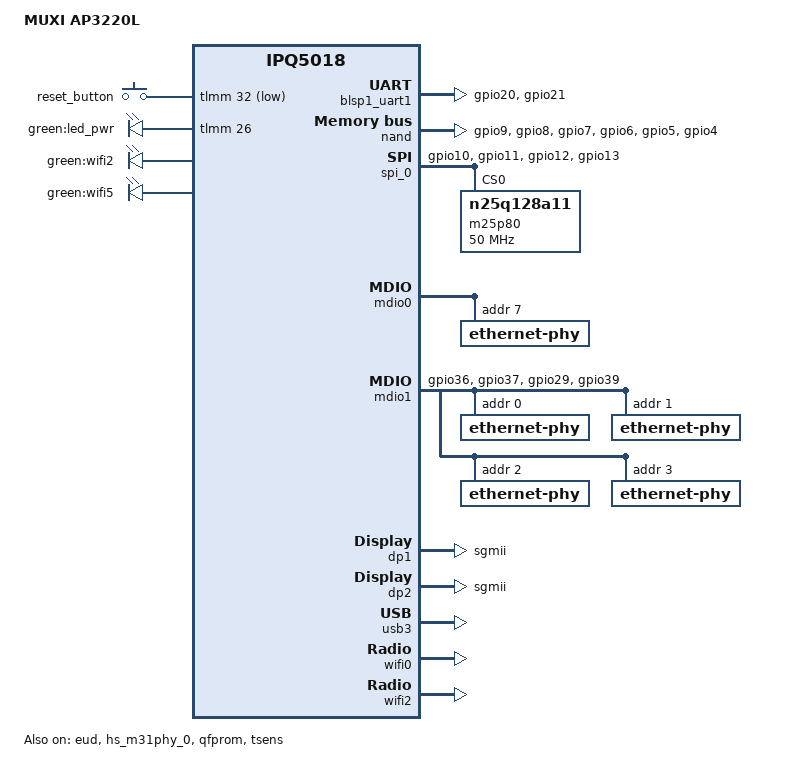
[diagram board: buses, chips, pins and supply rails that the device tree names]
/dts-v1/;
/* Copyright (c) 2018-2020, The Linux Foundation. All rights reserved.
 *
 * Permission to use, copy, modify, and/or distribute this software for any
 * purpose with or without fee is hereby granted, provided that the above
 * copyright notice and this permission notice appear in all copies.
 *
 * THE SOFTWARE IS PROVIDED "AS IS" AND THE AUTHOR DISCLAIMS ALL WARRANTIES
 * WITH REGARD TO THIS SOFTWARE INCLUDING ALL IMPLIED WARRANTIES OF
 * MERCHANTABILITY AND FITNESS. IN NO EVENT SHALL THE AUTHOR BE LIABLE FOR
 * ANY SPECIAL, DIRECT, INDIRECT, OR CONSEQUENTIAL DAMAGES OR ANY DAMAGES
 * WHATSOEVER RESULTING FROM LOSS OF USE, DATA OR PROFITS, WHETHER IN AN
 * ACTION OF CONTRACT, NEGLIGENCE OR OTHER TORTIOUS ACTION, ARISING OUT OF
 * OR IN CONNECTION WITH THE USE OR PERFORMANCE OF THIS SOFTWARE.
 */

#include "qcom-ipq5018.dtsi"

/ {
	#address-cells = <0x2>;
	#size-cells = <0x2>;
	model = "MUXI AP3220L";
	compatible = "muxi,ap3220l", "qcom,ipq5018-mp03.5-c1", "qcom,ipq5018";
	interrupt-parent = <&intc>;

	aliases {
		serial0 = &blsp1_uart1;
		serial1 = &blsp1_uart2;
		ethernet0 = "/soc/dp1";
		ethernet1 = "/soc/dp2";

		led-boot = &led_power;
		led-failsafe = &led_power;
		led-running = &led_power;
		led-upgrade = &led_power;
	};

	chosen {
		bootargs = "console=ttyMSM0,115200,n8 rw init=/init";
	#ifdef __IPQ_MEM_PROFILE_256_MB__
		bootargs-append = " swiotlb=1";
	#else
		bootargs-append = " swiotlb=1 coherent_pool=2M";
	#endif
		stdout-path = "serial0";
	};

	reserved-memory {
	#ifdef __IPQ_MEM_PROFILE_256_MB__
	/*                   256 MB Profile
	 * +==========+==============+=========================+
	 * |          |              |                         |
	 * |  Region  | Start Offset |          Size           |
	 * |          |              |                         |
	 * +----------+--------------+-------------------------+
	 * |    NSS   |  0x40000000  |           8MB           |
	 * +----------+--------------+-------------------------+
	 * |   Linux  |  0x40800000  | Depends on total memory |
	 * +----------+--------------+-------------------------+
	 * |   uboot  |  0x4A600000  |           4MB           |
	 * +----------+--------------+-------------------------+
	 * |    SBL   |  0x4AA00000  |           1MB           |
	 * +----------+--------------+-------------------------+
	 * |   smem   |  0x4AB00000  |           1MB           |
	 * +----------+--------------+-------------------------+
	 * |    TZ    |  0x4AC00000  |           4MB           |
	 * +----------+--------------+-------------------------+
	 * |    Q6    |              |                         |
	 * |   code/  |  0x4B000000  |          20MB           |
	 * |   data   |              |                         |
	 * +----------+--------------+-------------------------+
	 * |  IPQ5018 |              |                         |
	 * |   data   |  0x4C400000  |          13MB           |
	 * +----------+--------------+-------------------------+
	 * |  IPQ5018 |              |                         |
	 * |  M3 Dump |  0x4D100000  |           1MB           |
	 * +----------+--------------+-------------------------+
	 * |  IPQ5018 |              |                         |
	 * |   QDSS   |  0x4D200000  |           1MB           |
	 * +----------+--------------+-------------------------+
	 * | QCN6122_1|              |                         |
	 * |   data   |  0x4D300000  |          15MB           |
	 * +----------+--------------+-------------------------+
	 * | QCN6122_1|              |                         |
	 * |  M3 Dump |  0x4E200000  |           1MB           |
	 * +----------+--------------+-------------------------+
	 * | QCN6122_1|              |                         |
	 * |   QDSS   |  0x4E300000  |           1MB           |
	 * +----------+--------------+-------------------------+
	 * | QCN6122_2|              |                         |
	 * |   data   |  0x4E400000  |          15MB           |
	 * +----------+--------------+-------------------------+
	 * | QCN6122_2|              |                         |
	 * |  M3 Dump |  0x4F300000  |           1MB           |
	 * +----------+--------------+-------------------------+
	 * | QCN6122_2|              |                         |
	 * |   QDSS   |  0x4F400000  |           1MB           |
	 * +----------+--------------+-------------------------+
	 * |                                                   |
	 * |            Rest of the memory for Linux           |
	 * |                                                   |
	 * +===================================================+
	 */
		q6_mem_regions: q6_mem_regions@4B000000 {
			no-map;
			reg = <0x0 0x4B000000 0x0 0x4500000>;
		};

		q6_code_data: q6_code_data@4B000000 {
			no-map;
			reg = <0x0 0x4B000000 0x0 0x1400000>;
		};

		q6_ipq5018_data: q6_ipq5018_data@4C400000 {
			no-map;
			reg = <0x0 0x4C400000 0x0 0xD00000>;
		};

		m3_dump: m3_dump@4D100000 {
			no-map;
			reg = <0x0 0x4D100000 0x0 0x100000>;
		};

		q6_etr_region: q6_etr_dump@4D200000 {
			no-map;
			reg = <0x0 0x4D200000 0x0 0x100000>;
		};

		q6_qcn6122_data1: q6_qcn6122_data1@4D300000 {
			no-map;
			reg = <0x0 0x4D300000 0x0 0xF00000>;
		};

		m3_dump_qcn6122_1: m3_dump_qcn6122_1@4E200000 {
			no-map;
			reg = <0x0 0x4E200000 0x0 0x100000>;
		};

		q6_qcn6122_etr_1: q6_qcn6122_etr_1@4E300000 {
			no-map;
			reg = <0x0 0x4E300000 0x0 0x100000>;
		};

		q6_qcn6122_data2: q6_qcn6122_data2@4E400000 {
			no-map;
			reg = <0x0 0x4E400000 0x0 0xF00000>;
		};

		m3_dump_qcn6122_2: m3_dump_qcn6122_2@4F300000 {
			no-map;
			reg = <0x0 0x4F300000 0x0 0x100000>;
		};

		q6_qcn6122_etr_2: q6_qcn6122_etr_2@4F400000 {
			no-map;
			reg = <0x0 0x4F400000 0x0 0x100000>;
		};
	#else
	/*                 512MB/1GB Profiles
	 * +==========+==============+=========================+
	 * |          |              |                         |
	 * |  Region  | Start Offset |          Size           |
	 * |          |              |                         |
	 * +----------+--------------+-------------------------+
	 * |    NSS   |  0x40000000  |          16MB           |
	 * +----------+--------------+-------------------------+
	 * |   Linux  |  0x41000000  | Depends on total memory |
	 * +----------+--------------+-------------------------+
	 * |   uboot  |  0x4A600000  |           4MB           |
	 * +----------+--------------+-------------------------+
	 * |    SBL   |  0x4AA00000  |           1MB           |
	 * +----------+--------------+-------------------------+
	 * |   smem   |  0x4AB00000  |           1MB           |
	 * +----------+--------------+-------------------------+
	 * |    TZ    |  0x4AC00000  |           4MB           |
	 * +----------+--------------+-------------------------+
	 * |    Q6    |              |                         |
	 * |   code/  |  0x4B000000  |          20MB           |
	 * |   data   |              |                         |
	 * +----------+--------------+-------------------------+
	 * |  IPQ5018 |              |                         |
	 * |   data   |  0x4C400000  |          14MB           |
	 * +----------+--------------+-------------------------+
	 * |  IPQ5018 |              |                         |
	 * |  M3 Dump |  0x4D200000  |           1MB           |
	 * +----------+--------------+-------------------------+
	 * |  IPQ5018 |              |                         |
	 * |   QDSS   |  0x4D300000  |           1MB           |
	 * +----------+--------------+-------------------------+
	 * |  IPQ5018 |              |                         |
	 * |  Caldb   |  0x4D400000  |           2MB           |
	 * +----------+--------------+-------------------------+
	 * | QCN6122_1|              |                         |
	 * |   data   |  0x4D600000  |          16MB           |
	 * +----------+--------------+-------------------------+
	 * | QCN6122_1|              |                         |
	 * |  M3 Dump |  0x4E600000  |           1MB           |
	 * +----------+--------------+-------------------------+
	 * | QCN6122_1|              |                         |
	 * |   QDSS   |  0x4E700000  |           1MB           |
	 * +----------+--------------+-------------------------+
	 * | QCN6122_1|              |                         |
	 * |  Caldb   |  0x4E800000  |           5MB           |
	 * +----------+--------------+-------------------------+
	 * | QCN6122_2|              |                         |
	 * |   data   |  0x4ED00000  |          16MB           |
	 * +----------+--------------+-------------------------+
	 * | QCN6122_2|              |                         |
	 * |  M3 Dump |  0x4FD00000  |           1MB           |
	 * +----------+--------------+-------------------------+
	 * | QCN6122_2|              |                         |
	 * |   QDSS   |  0x4FE00000  |           1MB           |
	 * +----------+--------------+-------------------------+
	 * | QCN6122_2|              |                         |
	 * |  Caldb   |  0x4FF00000  |           5MB           |
	 * +----------+--------------+-------------------------+
	 * |                                                   |
	 * |            Rest of the memory for Linux           |
	 * |                                                   |
	 * +===================================================+
	 */
		q6_mem_regions: q6_mem_regions@4B000000 {
			no-map;
			reg = <0x0 0x4B000000 0x0 0x5400000>;
		};

		q6_code_data: q6_code_data@4B000000 {
			no-map;
			reg = <0x0 0x4B000000 0x0 01400000>;
		};

		q6_ipq5018_data: q6_ipq5018_data@4C400000 {
			no-map;
			reg = <0x0 0x4C400000 0x0 0xE00000>;
		};

		m3_dump: m3_dump@4D200000 {
			no-map;
			reg = <0x0 0x4D200000 0x0 0x100000>;
		};

		q6_etr_region: q6_etr_dump@4D300000 {
			no-map;
			reg = <0x0 0x4D300000 0x0 0x100000>;
		};

		q6_caldb_region: q6_caldb_region@4D400000 {
			no-map;
			reg = <0x0 0x4D400000 0x0 0x200000>;
		};

		q6_qcn6122_data1: q6_qcn6122_data1@4D600000 {
			no-map;
			reg = <0x0 0x4D600000 0x0 0x1000000>;
		};

		m3_dump_qcn6122_1: m3_dump_qcn6122_1@4E600000 {
			no-map;
			reg = <0x0 0x4E600000 0x0 0x100000>;
		};

		q6_qcn6122_etr_1: q6_qcn6122_etr_1@4E700000 {
			no-map;
			reg = <0x0 0x4E700000 0x0 0x100000>;
		};

		q6_qcn6122_caldb_1: q6_qcn6122_caldb_1@4E800000 {
			no-map;
			reg = <0x0 0x4E800000 0x0 0x500000>;
		};

		q6_qcn6122_data2: q6_qcn6122_data2@4E900000 {
			no-map;
			reg = <0x0 0x4ED00000 0x0 0x1000000>;
		};

		m3_dump_qcn6122_2: m3_dump_qcn6122_2@4FD00000 {
			no-map;
			reg = <0x0 0x4FD00000 0x0 0x100000>;
		};

		q6_qcn6122_etr_2: q6_qcn6122_etr_2@4FE00000 {
			no-map;
			reg = <0x0 0x4FE00000 0x0 0x100000>;
		};

		q6_qcn6122_caldb_2: q6_qcn6122_caldb_2@4FF00000 {
			no-map;
			reg = <0x0 0x4FF00000 0x0 0x500000>;
		};

	#endif
	};

	soc {

		blsp1_uart1: serial@78af000 {
			pinctrl-0 = <&blsp0_uart_pins>;
			pinctrl-names = "default";
			status = "okay";
		};

		blsp1_uart2: serial@78b0000 {
			pinctrl-0 = <&blsp1_uart_pins>;
			pinctrl-names = "default";
			status = "disabled";
		};

		qpic_bam: dma@7984000{
			status = "ok";
		};

		nand: qpic-nand@79b0000 {
			pinctrl-0 = <&qspi_nand_pins>;
			pinctrl-names = "default";
			status = "ok";
		};

		spi_0: spi@78b5000 { /* BLSP1 QUP0 */
			pinctrl-0 = <&blsp0_spi_pins>;
			pinctrl-names = "default";
			cs-select = <0>;
			status = "ok";

			m25p80@0 {
				#address-cells = <1>;
				#size-cells = <1>;
				reg = <0>;
				compatible = "n25q128a11";
				linux,modalias = "m25p80", "n25q128a11";
				spi-max-frequency = <50000000>;
				use-default-sizes;
			};
		};

		mdio0: mdio@88000 {
			status = "ok";

			ethernet-phy@0 {
				reg = <7>;
			};
		};

		mdio1: mdio@90000 {
			status = "ok";
			pinctrl-0 = <&mdio1_pins &phy_pins>;
			pinctrl-names = "default";
			phy-reset-gpio = <&tlmm 39 0>;

			ethernet-phy@0 {
				reg = <0>;
			};

			ethernet-phy@1 {
				reg = <1>;
			};

			ethernet-phy@2 {
				reg = <2>;
			};

			ethernet-phy@3 {
				reg = <3>;
			};
		};

		ess-instance {
			num_devices = <0x2>;
			ess-switch@0x39c00000 {
				compatible = "qcom,ess-switch-ipq50xx";
				device_id = <0>;
				switch_mac_mode = <0xf>; /* mac mode for uniphy instance*/
				cmnblk_clk = "internal_96MHz"; /* cmnblk clk*/
				qcom,port_phyinfo {
					port@0 {
						port_id = <1>;
						phy_address = <7>;
					};
					port@1 {
						port_id = <2>;
						forced-speed = <1000>;
						forced-duplex = <1>;
					};
				};
				/*
				led_source@0 {
					source = <0>;
					mode = "normal";
					speed = "all";
					blink_en = "enable";
					active = "high";
				};
				*/
			};
			ess-switch1@1 {
				compatible = "qcom,ess-switch-qca83xx";
				device_id = <1>;
				switch_access_mode = "mdio";
				mdio-bus = <&mdio1>;
				reset_gpio = <0x27>;
				switch_cpu_bmp = <0x40>;  /* cpu port bitmap */
				switch_lan_bmp = <0x1e>; /* lan port bitmap */
				switch_wan_bmp = <0x0>;  /* wan port bitmap */
				qca,ar8327-initvals = <
						0x00004 0x7600000   /* PAD0_MODE */
						0x00008 0x1000000   /* PAD5_MODE */
						0x0000c 0x80        /* PAD6_MODE */
						0x00010 0x2613a0    /* PORT6 FORCE MODE*/
						0x000e4 0xaa545     /* MAC_POWER_SEL */
						0x000e0 0xc74164de  /* SGMII_CTRL */
						0x0007c 0x4e        /* PORT0_STATUS */
						0x00094 0x4e        /* PORT6_STATUS */
				>;
				qcom,port_phyinfo {
					port@0 {
						port_id = <1>;
						phy_address = <0>;
					};
					port@1 {
						port_id = <2>;
						phy_address = <1>;
					};
					port@2 {
						port_id = <3>;
						phy_address = <2>;
					};
					port@3 {
						port_id = <4>;
						phy_address = <3>;
					};
				};
			};
		};

		ess-uniphy@98000 {
			status = "disabled";
		};

		dp1 {
			device_type = "network";
			compatible = "qcom,nss-dp";
			clocks = <&gcc GCC_SNOC_GMAC0_AXI_CLK>;
			clock-names = "nss-snoc-gmac-axi-clk";
			qcom,id = <1>;
			reg = <0x39C00000 0x10000>;
			interrupts = <GIC_SPI 101 IRQ_TYPE_LEVEL_HIGH>;
			qcom,mactype = <2>;
			qcom,link-poll = <1>;
			qcom,phy-mdio-addr = <7>;
			mdio-bus = <&mdio0>;
			local-mac-address = [000000000000];
			phy-mode = "sgmii";
		};

		dp2 {
			device_type = "network";
			compatible = "qcom,nss-dp";
			clocks = <&gcc GCC_SNOC_GMAC1_AXI_CLK>;
			clock-names = "nss-snoc-gmac-axi-clk";
			qcom,id = <2>;
			reg = <0x39D00000 0x10000>;
			interrupts = <GIC_SPI 109 IRQ_TYPE_LEVEL_HIGH>;
			qcom,mactype = <2>;
			qcom,link-poll = <1>;
			qcom,phy-mdio-addr = <3>;
			mdio-bus = <&mdio1>;
			local-mac-address = [000000000000];
			phy-mode = "sgmii";
		};

		qcom,test@0 {
			status = "ok";
		};

	};

	thermal-zones {
		status = "ok";
	};
};

&tlmm {
	//pinctrl-0 = <&phy_led_pins>;
	pinctrl-names = "default";

	blsp0_uart_pins: uart_pins {
		blsp0_uart_rx_tx {
			pins = "gpio20", "gpio21";
			function = "blsp0_uart0";
			bias-disable;
		};
	};

	blsp1_uart_pins: blsp1_uart_pins {
		blsp1_uart_rx_tx {
			pins = "gpio23", "gpio25";
			function = "blsp1_uart2";
			bias-disable;
		};
	};

	blsp0_spi_pins: blsp0_spi_pins {
		mux {
			pins = "gpio10", "gpio11", "gpio12", "gpio13";
			function = "blsp0_spi";
			drive-strength = <2>;
			bias-disable;
		};
	};

	qspi_nand_pins: qspi_nand_pins {
		qspi_clock {
				pins = "gpio9";
				function = "qspi_clk";
				drive-strength = <8>;
				bias-disable;
			};
		qspi_cs {
				pins = "gpio8";
				function = "qspi_cs";
				drive-strength = <8>;
				bias-disable;
			};
		qspi_data_0 {
				pins = "gpio7";
				function = "qspi0";
				drive-strength = <8>;
				bias-disable;
			};
		qspi_data_1 {
				pins = "gpio6";
				function = "qspi1";
				drive-strength = <8>;
				bias-disable;
			};
		qspi_data_2 {
				pins = "gpio5";
				function = "qspi2";
				drive-strength = <8>;
				bias-disable;
			};
		qspi_data_3 {
				pins = "gpio4";
				function = "qspi3";
				drive-strength = <8>;
				bias-disable;
			};
	};

	phy_pins: phy_pins {
		phy_intr {
			pins = "gpio29";
			function = "gpio";
			drive-strength = <8>;
			bias-pull-up;
			bias-disable;
		};
		phy_reset {
			pins = "gpio39";
			function = "gpio";
			drive-strength = <8>;
			bias-pull-down;
			output-low;
		};
	};

	mdio1_pins: mdio_pinmux {
		mux_0 {
			pins = "gpio36";
			function = "mdc";
			drive-strength = <8>;
			bias-pull-up;
		};

		mux_1 {
			pins = "gpio37";
			function = "mdio";
			drive-strength = <8>;
			bias-pull-up;
		};
	};

	phy_led_pins: phy_led_pins {
		gephy_led_pin {
			//pins = "gpio46";
			function = "led0";
			drive-strength = <8>;
			bias-pull-down;
		};
	};

	button_pins: button_pins {
		reset_button {
			pins = "gpio32";
			function = "gpio";
			drive-strength = <8>;
			bias-pull-up;
		};
	};

	led_pins: led_pins {
		led_pwr {
			pins = "gpio26";
			function = "gpio";
			drive-strength = <8>;
			bias-pull-down;
		};

		led_2g {
			pins = "gpio31";
			function = "gpio";
			drive-strength = <8>;
			bias-pull-down;
		};

		led_5g {
			pins = "gpio33";
			function = "gpio";
			drive-strength = <8>;
			bias-pull-down;
		};
	};

};

&soc {
	gpio_keys {
		compatible = "gpio-keys";
		pinctrl-0 = <&button_pins>;
		pinctrl-names = "default";

		button@1 {
			label = "reset_button";
			linux,code = <KEY_RESTART>;
			gpios = <&tlmm 32 GPIO_ACTIVE_LOW>;
			linux,input-type = <1>;
			debounce-interval = <60>;
		};
	};

	leds {
		compatible = "gpio-leds";
		pinctrl-0 = <&led_pins>;
		pinctrl-names = "default";

			led_power: led_pwr {
				label = "green:led_pwr";
				gpios = <&tlmm 26 GPIO_ACTIVE_HIGH>;
				default-state = "on";
				linux,default-trigger = "led_pwr";
			};

			led_2g {
				label = "green:wifi2";
				gpio = <&tlmm 33 GPIO_ACTIVE_HIGH>;
				default-state = "off";
			};

			led_5g {
				label = "green:wifi5";
				gpio = <&tlmm 31 GPIO_ACTIVE_HIGH>;
				default-state = "off";
			};
	};
};

&usb3 {
	status = "ok";
	device-power-gpio = <&tlmm 30 1>;
};

&eud {
	status = "ok";
};

&pcie_x1 {
	status = "disabled";
	perst-gpio = <&tlmm 18 1>;
};

&pcie_x2 {
	status = "disabled";
	perst-gpio = <&tlmm 15 1>;
};

&dwc_0 {
	/delete-property/ #phy-cells;
	/delete-property/ phys;
	/delete-property/ phy-names;
};

&hs_m31phy_0 {
	status = "ok";
};

&pcie_x1phy {
	status = "disabled";
};

&pcie_x2phy {
	status = "disabled";
};

&pcie_x1_rp {
        status = "disabled";

	mhi_0: qcom,mhi@0 {
		reg = <0 0 0 0 0 >;
	};
};

&pcie_x2_rp {
        status = "disabled";

	mhi_1: qcom,mhi@1 {
		reg = <0 0 0 0 0 >;

	};
};

&qfprom {
	status = "ok";
};

&tsens {
	status = "ok";
};

&qcom_q6v5_wcss {
	qcom,multipd_arch;
	memory-region = <&q6_mem_regions>;
	qcom,share_bootargs;
	qcom,bootargs_smem = <507>;
	boot-args = <0x2 0x4 0x2 0xF 0x0 0x0>;

	/* IPQ5018 */
	q6v5_wcss_userpd1 {
		m3_firmware = "IPQ5018/m3_fw.mdt";
		interrupts-extended = <&wcss_smp2p_in 8 0>,
			<&wcss_smp2p_in 9 0>,
			<&wcss_smp2p_in 12 0>,
			<&wcss_smp2p_in 11 0>;
		interrupt-names ="fatal",
			"ready",
			"spawn_ack",
			"stop-ack";
		qcom,smem-states = <&wcss_smp2p_out 8>,
			<&wcss_smp2p_out 9>,
			<&wcss_smp2p_out 10>;
		qcom,smem-state-names = "shutdown",
			"stop",
			"spawn";
		qca,asid = <1>;
		qca,auto-restart;
		qca,int_radio;
		#ifdef __IPQ_MEM_PROFILE_256_MB__
		memory-region = <&q6_ipq5018_data>, <&m3_dump>,
				<&q6_etr_region>;
		#else
		memory-region = <&q6_ipq5018_data>, <&m3_dump>,
				<&q6_etr_region>, <&q6_caldb_region>;
		#endif
	};

	/* QCN6122 6G */
	q6v5_wcss_userpd2 {
		m3_firmware = "qcn6122/m3_fw.mdt";
		interrupts-extended = <&wcss_smp2p_in 16 0>,
			<&wcss_smp2p_in 17 0>,
			<&wcss_smp2p_in 20 0>,
			<&wcss_smp2p_in 19 0>;
		interrupt-names ="fatal",
			"ready",
			"spawn_ack",
			"stop-ack";
		qcom,smem-states = <&wcss_smp2p_out 16>,
			<&wcss_smp2p_out 17>,
			<&wcss_smp2p_out 18>;
		qcom,smem-state-names = "shutdown",
			"stop",
			"spawn";
		qca,asid = <2>;
		qca,auto-restart;
		#ifdef __IPQ_MEM_PROFILE_256_MB__
		memory-region = <&q6_qcn6122_data1>, <&m3_dump_qcn6122_1>,
				<&q6_qcn6122_etr_1>;
		#else
		memory-region = <&q6_qcn6122_data1>, <&m3_dump_qcn6122_1>,
				<&q6_qcn6122_etr_1>, <&q6_qcn6122_caldb_1>;
		#endif
	};

	/* QCN6122 5G */
	q6v5_wcss_userpd3 {
		m3_firmware = "qcn6122/m3_fw.mdt";
		interrupts-extended = <&wcss_smp2p_in 24 0>,
			<&wcss_smp2p_in 25 0>,
			<&wcss_smp2p_in 28 0>,
			<&wcss_smp2p_in 27 0>;
		interrupt-names ="fatal",
			"ready",
			"spawn_ack",
			"stop-ack";
		qcom,smem-states = <&wcss_smp2p_out 24>,
			<&wcss_smp2p_out 25>,
			<&wcss_smp2p_out 26>;
		qcom,smem-state-names = "shutdown",
			"stop",
			"spawn";
		qca,asid = <3>;
		qca,auto-restart;
		#ifdef __IPQ_MEM_PROFILE_256_MB__
		memory-region = <&q6_qcn6122_data2>, <&m3_dump_qcn6122_2>,
				<&q6_qcn6122_etr_2>;
		#else
		memory-region = <&q6_qcn6122_data2>, <&m3_dump_qcn6122_2>,
				<&q6_qcn6122_etr_2>, <&q6_qcn6122_caldb_2>;
		#endif
	};
};

&qgic_msi_0 {
	status = "ok";
};

&qgic_msi_1 {
	status = "ok";
};

&wifi0 {
	/* IPQ5018 */
	qcom,multipd_arch;
	qcom,userpd-subsys-name = "q6v5_wcss_userpd1";
#ifdef __IPQ_MEM_PROFILE_256_MB__
	qcom,tgt-mem-mode = <2>;
#else
	qcom,tgt-mem-mode = <1>;
#endif
	qcom,board_id = <0x24>;
	qcom,bdf-addr = <0x4C400000 0x4C400000 0x4C400000 0x0 0x0>;
#ifdef __CNSS2__
	qcom,caldb-addr = <0x4D400000 0x4D400000 0 0 0>;
#else
	qcom,caldb-addr = <0x4D400000>;
	m3-dump-addr = <0x4D200000>;
#endif
	qcom,caldb-size = <0x200000>;
	status = "ok";
};

&wifi1 {
	/* QCN6122 6G */
	qcom,multipd_arch;
	qcom,userpd-subsys-name = "q6v5_wcss_userpd2";
#ifdef __IPQ_MEM_PROFILE_256_MB__
	qcom,tgt-mem-mode = <2>;
#else
	qcom,tgt-mem-mode = <1>;
#endif
	qcom,board_id = <0x60>;
	qcom,bdf-addr = <0x4D600000 0x4D600000 0x4D300000 0x0 0x0>;
#ifdef __CNSS2__
	qcom,caldb-addr = <0x4E800000 0x4E800000 0 0 0>;
#else
	qcom,caldb-addr = <0x4E800000>;
	m3-dump-addr = <0x4E600000>;
#endif
	qcom,caldb-size = <0x500000>;
	status = "disabled";
};

&wifi2 {
	/* QCN6122 5G */
	qcom,multipd_arch;
	qcom,userpd-subsys-name = "q6v5_wcss_userpd3";
#ifdef __IPQ_MEM_PROFILE_256_MB__
	qcom,tgt-mem-mode = <2>;
#else
	qcom,tgt-mem-mode = <1>;
#endif
	qcom,board_id = <0x60>;
	qcom,bdf-addr = <0x4ED00000 0x4ED00000 0x4E400000 0x0 0x0>;
#ifdef __CNSS2__
	qcom,caldb-addr = <0x4FF00000 0x4FF00000 0 0 0>;
#else
	qcom,caldb-addr = <0x4FF00000>;
	m3-dump-addr = <0x4FD00000>;
#endif
	qcom,caldb-size = <0x500000>;
	status = "ok";
};
